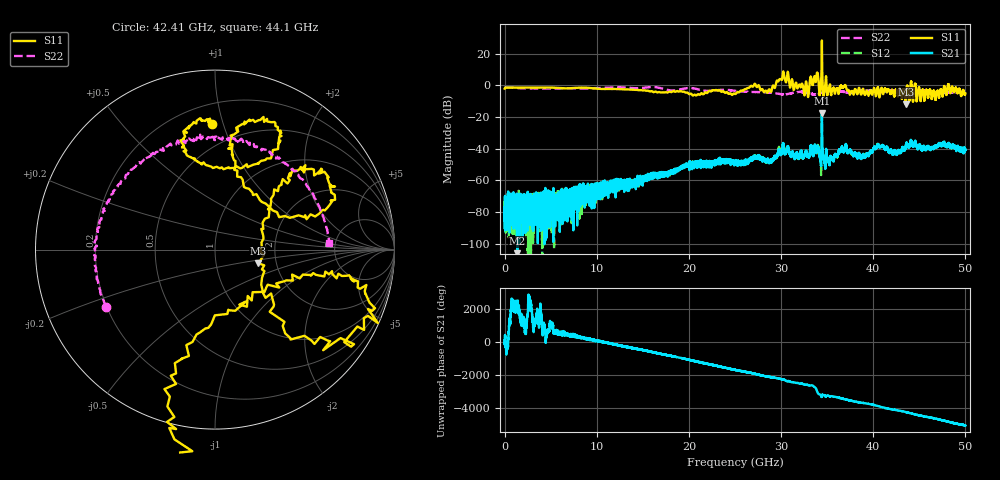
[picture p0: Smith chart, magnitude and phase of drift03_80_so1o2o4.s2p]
!Created with skrf (http://scikit-rf.org).
# Hz S RI R 50.0
!freq ReS11 ImS11 ReS21 ImS21 ReS12 ImS12 ReS22 ImS22
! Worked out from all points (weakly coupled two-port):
!   10000 points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, 5.3 MHz to 50 GHz, reference 50 ohm
!   highest |S21| = -17.69 dB at 34.43 GHz (marker M1); lowest = -106.0 dB at 1.375 GHz (marker M2)
!   lowest |S11| = -11.9 dB at 43.53 GHz (marker M3), VSWR 1.68, Z = 80.6 - j13.2 ohm
!   |S11| at or under -10 dB: 43.48235 GHz to 43.5533 GHz (70.95 MHz wide, 0.163 % of centre); 44.30339 GHz to 44.30754 GHz (4.148 MHz wide, 0.00936 % of centre); 44.31168 GHz to 44.31729 GHz (5.615 MHz wide, 0.0127 % of centre) (the widest 3 of 6)
!   |S22| runs from -5.8 to -1.1 dB; largest |S21 - S12| = 0.03
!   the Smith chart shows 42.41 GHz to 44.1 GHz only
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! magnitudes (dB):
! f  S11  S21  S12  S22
! 5.3 MHz  -2.1  -85.7  -75.8  -1.3
! 1.375 GHz  -1.4  -106.0  -84.6  -1.7
! 8.34 GHz  -1.5  -67.8  -67.5  -2.1
! 16.67 GHz  -4.4  -55.4  -56.3  -1.4
! 20.24 GHz  -5.4  -50.1  -50.9  -1.8
! 25.01 GHz  -5.5  -48.5  -47.6  -3.5
! 27.02 GHz  -0.3  -46.1  -46.8  -4.2
! 28.72 GHz  -2.5  -48.0  -47.5  -4.5
! 30.14 GHz  4.5  -40.3  -40.6  -5.6
! 32.74 GHz  2.0  -41.9  -42.3  -4.5
! 33.34 GHz  2.6  -39.6  -40.3  -5.6
! 33.82 GHz  4.0  -42.4  -42.1  -5.7
! 34.43 GHz  28.3  -17.7  -19.1  -4.6
! 35.37 GHz  -3.1  -45.0  -45.4  -3.3
! 36.85 GHz  -0.7  -42.1  -41.2  -4.3
! 38.86 GHz  -2.4  -43.9  -43.1  -3.2
! 40.62 GHz  -5.5  -38.5  -38.2  -4.0
! 41.67 GHz  -2.9  -41.5  -42.4  -3.3
! 43.53 GHz  -11.9  -39.0  -38.4  -4.2
! 46.94 GHz  -3.6  -38.3  -38.6  -4.8
! 48.32 GHz  -4.3  -37.9  -38.5  -4.5
! 50 GHz  -5.2  -40.8  -41.4  -4.5
